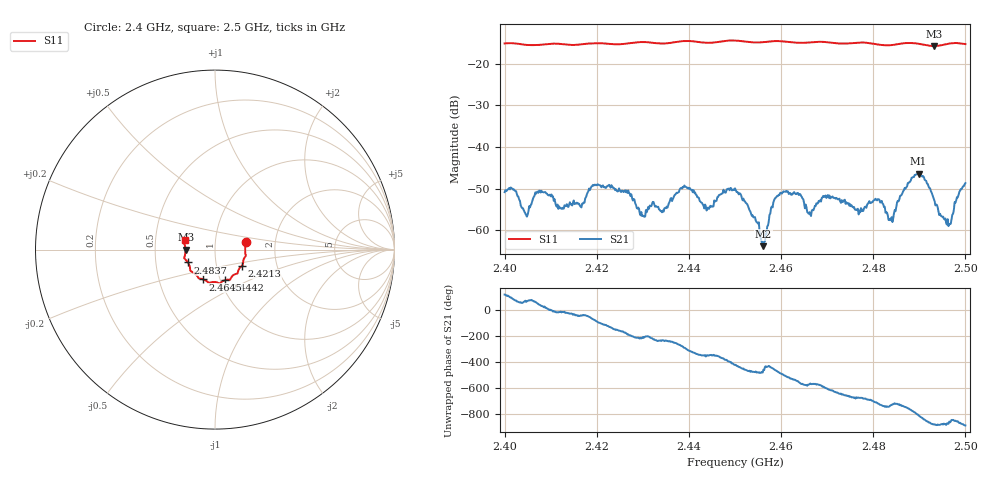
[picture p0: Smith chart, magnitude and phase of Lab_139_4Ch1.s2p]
# Hz S RI R 50
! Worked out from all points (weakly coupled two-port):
!   601 points, 2.4 GHz to 2.5 GHz, reference 50 ohm
!   highest |S21| = -46.42 dB at 2.4898 GHz (marker M1); lowest = -63.9 dB at 2.4562 GHz (marker M2)
!   lowest |S11| = -15.7 dB at 2.4932 GHz (marker M3), VSWR 1.39, Z = 35.9 - j0.0463 ohm
!   |S11| at or under -10 dB: start of sweep to end of sweep
!   S12 and S22 are empty: the file has one direction only
!   S11 on the Smith chart (normalised r, x): 2.4 GHz: 1.41, +0.12; 2.4213 GHz: 1.33, -0.25; 2.4442 GHz: 1.05, -0.37; 2.4645 GHz: 0.83, -0.29; 2.4837 GHz: 0.73, -0.11; 2.5 GHz: 0.71, +0.07
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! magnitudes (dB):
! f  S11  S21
! 2.4 GHz  -15.1  -50.9
! 2.4047 GHz  -15.4  -56.3
! 2.4075 GHz  -15.5  -50.5
! 2.4167 GHz  -15.3  -54.5
! 2.4213 GHz  -15.1  -49.2
! 2.43 GHz  -14.8  -56.5
! 2.4333 GHz  -15.1  -54.4
! 2.4392 GHz  -14.5  -49.5
! 2.4442 GHz  -15.0  -54.6
! 2.45 GHz  -14.4  -50.0
! 2.4562 GHz  -14.8  -63.9
! 2.459 GHz  -14.5  -52.0
! 2.4645 GHz  -15.0  -52.0
! 2.4667 GHz  -14.8  -55.3
! 2.4697 GHz  -14.8  -51.7
! 2.4808 GHz  -15.3  -52.8
! 2.4833 GHz  -15.6  -57.6
! 2.4837 GHz  -15.5  -57.6
! 2.4898 GHz  -15.2  -46.4
! 2.4932 GHz  -15.7  -52.6
! 2.4963 GHz  -15.2  -59.0
! 2.5 GHz  -15.3  -48.7
